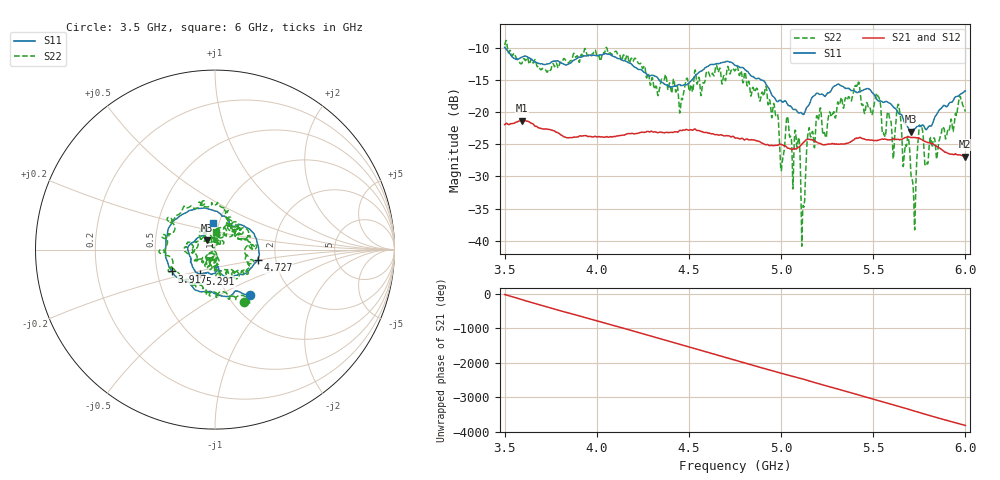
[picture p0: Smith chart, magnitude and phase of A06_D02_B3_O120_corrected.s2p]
! Created with skrf 1.9.0 (http://scikit-rf.org).
# Hz S RI R 50.0
!freq ReS11 ImS11 ReS21 ImS21 ReS12 ImS12 ReS22 ImS22
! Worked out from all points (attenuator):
!   1601 points, 3.5 GHz to 6 GHz, reference 50 ohm
!   highest |S21| = -21.31 dB at 3.594 GHz (marker M1); lowest = -26.9 dB at 5.998 GHz (marker M2)
!   lowest |S11| = -23.1 dB at 5.703 GHz (marker M3), VSWR 1.15, Z = 45.3 + j4.78 ohm
!   |S11| at or under -10 dB: 3.502 GHz to end of sweep
!   |S22| runs from -40.9 to -8.9 dB; largest |S21 - S12| = 0.00096
!   S11 on the Smith chart (normalised r, x): 3.5 GHz: 1.27, -0.71; 3.917 GHz: 0.60, -0.16; 4.727 GHz: 1.61, -0.20; 5.291 GHz: 0.82, -0.23; 6 GHz: 0.94, +0.28
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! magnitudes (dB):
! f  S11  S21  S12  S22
! 3.5 GHz  -9.9  -21.9  -21.9  -9.6
! 3.594 GHz  -11.4  -21.3  -21.3  -12.4
! 3.917 GHz  -11.4  -23.7  -23.7  -11.0
! 4.334 GHz  -14.8  -23.2  -23.1  -17.3
! 4.727 GHz  -12.2  -23.9  -23.7  -13.7
! 4.75 GHz  -12.7  -24.1  -24.0  -13.6
! 4.969 GHz  -18.0  -25.2  -25.1  -20.3
! 5.005 GHz  -18.3  -25.1  -25.1  -28.0
! 5.088 GHz  -19.9  -25.6  -25.6  -25.2
! 5.119 GHz  -20.3  -24.8  -24.8  -34.8
! 5.147 GHz  -19.0  -24.2  -24.2  -23.4
! 5.167 GHz  -17.8  -24.3  -24.3  -23.2
! 5.291 GHz  -15.9  -25.0  -24.9  -20.6
! 5.412 GHz  -17.0  -24.1  -24.1  -16.0
! 5.584 GHz  -18.6  -24.3  -24.3  -20.2
! 5.639 GHz  -20.2  -24.3  -24.2  -18.9
! 5.703 GHz  -23.1  -24.0  -23.9  -28.9
! 5.72 GHz  -22.7  -24.0  -23.9  -33.9
! 5.756 GHz  -22.2  -24.2  -24.1  -22.2
! 5.789 GHz  -22.7  -24.7  -24.6  -27.9
! 5.998 GHz  -16.8  -26.9  -26.8  -19.8
! 6 GHz  -16.7  -26.9  -26.8  -19.9
